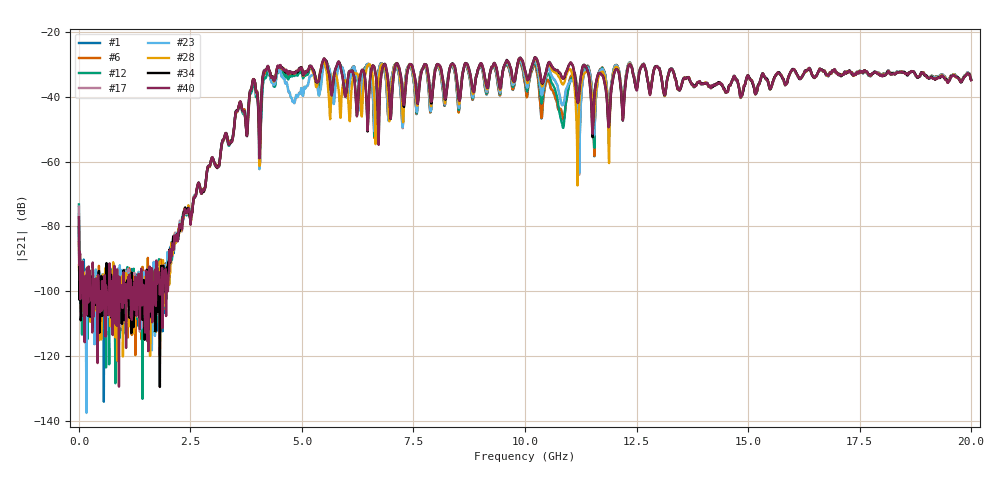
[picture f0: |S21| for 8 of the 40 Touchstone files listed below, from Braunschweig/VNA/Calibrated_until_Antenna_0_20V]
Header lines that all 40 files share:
#  HZ  S  RI  R  50.00
! Rohde & Schwarz Vector Network Analyzer
! Rohde-Schwarz,ZNB20-2Port,1311601062102128,3.60
! freq[Hz]  re:S11  im:S11  re:S21  im:S21  re:S12  im:S12  re:S22  im:S22
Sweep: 100 kHz to 20 GHz
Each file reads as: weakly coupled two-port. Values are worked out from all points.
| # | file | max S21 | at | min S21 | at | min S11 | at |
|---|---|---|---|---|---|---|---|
| 1 | 0.01_1.s2p | -28.71 dB | 5.514 GHz | -134.2 dB | 558.4 MHz | -54.3 dB | 6.191 GHz |
| 2 | 0.01_2.s2p | -28.76 dB | 5.494 GHz | -122.5 dB | 1.615 GHz | -54.3 dB | 6.191 GHz |
| 3 | 0.01_3.s2p | -28.75 dB | 5.514 GHz | -121.2 dB | 279.3 MHz | -53.6 dB | 6.191 GHz |
| 4 | 0.01_4.s2p | -28.74 dB | 5.504 GHz | -118.2 dB | 1.575 GHz | -54.1 dB | 6.191 GHz |
| 5 | 0.01_5.s2p | -28.75 dB | 5.514 GHz | -126.7 dB | 548.5 MHz | -54.8 dB | 6.191 GHz |
| 6 | 0.01_6.s2p | -28.72 dB | 5.514 GHz | -120.0 dB | 1.815 GHz | -54.4 dB | 6.191 GHz |
| 7 | 0.01_7.s2p | -28.75 dB | 5.514 GHz | -135.2 dB | 1.276 GHz | -54.8 dB | 6.191 GHz |
| 8 | 0.01_8.s2p | -28.74 dB | 5.514 GHz | -118.3 dB | 20.04 MHz | -55.5 dB | 6.191 GHz |
| 9 | 2.5_1.s2p | -28.93 dB | 9.87 GHz | -126.8 dB | 438.8 MHz | -55.9 dB | 6.201 GHz |
| 10 | 2.5_2.s2p | -28.91 dB | 5.543 GHz | -119.6 dB | 1.236 GHz | -56.8 dB | 6.201 GHz |
| 11 | 2.5_3.s2p | -28.90 dB | 9.89 GHz | -125.8 dB | 1.775 GHz | -57.5 dB | 6.201 GHz |
| 12 | 2.5_4.s2p | -28.92 dB | 9.89 GHz | -133.3 dB | 1.426 GHz | -57.4 dB | 6.201 GHz |
| 13 | 2.5_5.s2p | -28.94 dB | 9.89 GHz | -131.6 dB | 967.2 MHz | -56.7 dB | 6.201 GHz |
| 14 | 2.5_6.s2p | -28.94 dB | 5.543 GHz | -121.8 dB | 299.2 MHz | -56.9 dB | 6.201 GHz |
| 15 | 2.5_7.s2p | -28.91 dB | 9.89 GHz | -125.5 dB | 977.2 MHz | -56.4 dB | 6.201 GHz |
| 16 | 2.5_8.s2p | -28.92 dB | 9.89 GHz | -124.3 dB | 1.246 GHz | -56.8 dB | 6.201 GHz |
| 17 | 5_1.s2p | -28.51 dB | 10.22 GHz | -117.7 dB | 1.625 GHz | -54.0 dB | 6.201 GHz |
| 18 | 5_2.s2p | -28.51 dB | 10.22 GHz | -134.0 dB | 1.197 GHz | -54.4 dB | 6.201 GHz |
| 19 | 5_3.s2p | -28.51 dB | 10.22 GHz | -125.6 dB | 398.9 MHz | -54.4 dB | 6.201 GHz |
| 20 | 5_4.s2p | -28.51 dB | 10.22 GHz | -133.2 dB | 628.2 MHz | -54.5 dB | 6.201 GHz |
| 21 | 5_5.s2p | -28.56 dB | 10.22 GHz | -119.1 dB | 1.456 GHz | -53.7 dB | 6.201 GHz |
| 22 | 5_6.s2p | -28.52 dB | 10.22 GHz | -121.0 dB | 1.585 GHz | -53.1 dB | 6.201 GHz |
| 23 | 5_7.s2p | -28.53 dB | 9.89 GHz | -137.6 dB | 169.6 MHz | -55.9 dB | 6.201 GHz |
| 24 | 5_8.s2p | -28.58 dB | 10.22 GHz | -121.1 dB | 1.167 GHz | -55.0 dB | 6.201 GHz |
| 25 | 7.5_1.s2p | -27.99 dB | 10.22 GHz | -120.0 dB | 1.605 GHz | -48.5 dB | 6.56 GHz |
| 26 | 7.5_2.s2p | -27.98 dB | 10.22 GHz | -129.3 dB | 478.7 MHz | -49.6 dB | 6.55 GHz |
| 27 | 7.5_3.s2p | -28.02 dB | 10.22 GHz | -125.3 dB | 1.187 GHz | -49.9 dB | 6.56 GHz |
| 28 | 7.5_4.s2p | -27.99 dB | 10.22 GHz | -121.6 dB | 867.5 MHz | -50.0 dB | 6.56 GHz |
| 29 | 7.5_5.s2p | -28.01 dB | 10.22 GHz | -117.9 dB | 1.825 GHz | -49.7 dB | 6.56 GHz |
| 30 | 7.5_6.s2p | -28.01 dB | 10.22 GHz | -124.8 dB | 418.8 MHz | -49.4 dB | 6.56 GHz |
| 31 | 7.5_7.s2p | -28.00 dB | 10.22 GHz | -120.5 dB | 199.5 MHz | -49.5 dB | 6.56 GHz |
| 32 | 7.5_8.s2p | -28.02 dB | 10.23 GHz | -120.6 dB | 747.9 MHz | -50.3 dB | 6.56 GHz |
| 33 | 10_1.s2p | -27.74 dB | 10.22 GHz | -141.8 dB | 239.4 MHz | -57.2 dB | 6.461 GHz |
| 34 | 10_2.s2p | -27.73 dB | 10.23 GHz | -129.6 dB | 1.815 GHz | -58.1 dB | 6.461 GHz |
| 35 | 10_3.s2p | -27.80 dB | 9.9 GHz | -122.5 dB | 1.067 GHz | -59.0 dB | 9.342 GHz |
| 36 | 10_4.s2p | -27.72 dB | 10.22 GHz | -122.2 dB | 987.1 MHz | -56.9 dB | 6.461 GHz |
| 37 | 10_5.s2p | -27.75 dB | 10.22 GHz | -113.8 dB | 498.6 MHz | -57.0 dB | 6.461 GHz |
| 38 | 10_6.s2p | -27.74 dB | 10.22 GHz | -126.6 dB | 398.9 MHz | -57.6 dB | 6.461 GHz |
| 39 | 10_7.s2p | -27.74 dB | 10.22 GHz | -114.2 dB | 1.645 GHz | -56.5 dB | 6.461 GHz |
| 40 | 10_8.s2p | -27.80 dB | 10.23 GHz | -129.5 dB | 897.4 MHz | -57.4 dB | 6.461 GHz |
